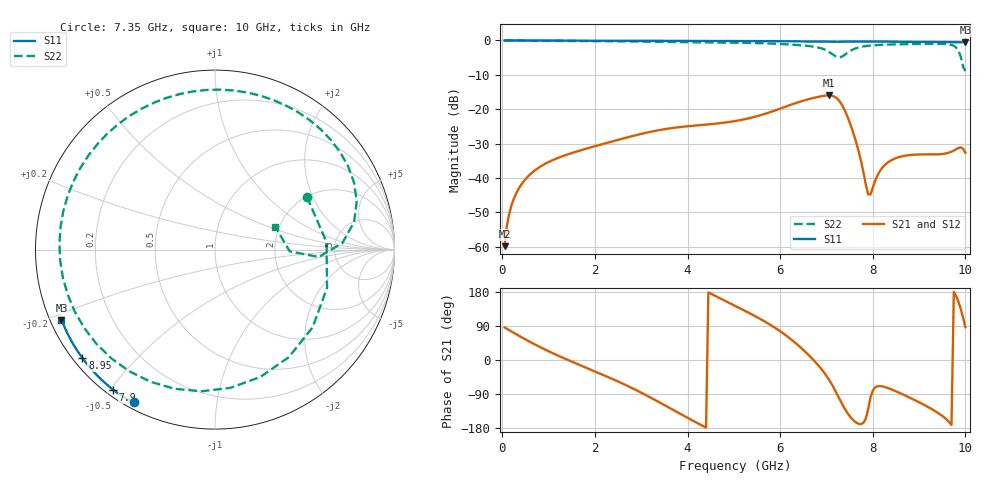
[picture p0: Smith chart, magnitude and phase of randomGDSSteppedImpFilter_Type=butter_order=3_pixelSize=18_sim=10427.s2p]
! freq	dB(S11)	phase(S11)	dB(S12)	phase(S12)
!  dB(S21)	phase(S21)	dB(S22)	phase(S22)
!S-par simulation data
#  GHz  S  DB  R 50
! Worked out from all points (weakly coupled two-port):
!   200 points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, 50 MHz to 10 GHz, reference 50 ohm
!   highest |S21| = -15.99 dB at 7.05 GHz (marker M1); lowest = -59.9 dB at 50 MHz (marker M2)
!   lowest |S11| = -0.5 dB at 10 GHz (marker M3), VSWR 33.01, Z = 1.59 - j10.9 ohm
!   |S11| at or under -10 dB: nowhere
!   |S22| runs from -8.9 to 0.0 dB; largest |S21 - S12| = 0
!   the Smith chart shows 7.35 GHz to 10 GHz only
!   S11 on the Smith chart (normalised r, x): 7.35 GHz: 0.03, -0.60; 7.9 GHz: 0.02, -0.51; 8.95 GHz: 0.03, -0.36; 10 GHz: 0.03, -0.22
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0.05  -0.00 -0.9  -59.89 85.8  -59.89 85.8  -0.00 -6.4
0.25  -0.01 -4.5  -46.04 71.6  -46.04 71.6  -0.04 -31.7
0.8  -0.02 -14.4  -36.91 35.0  -36.91 35.0  -0.11 -95.3
1.75  -0.04 -31.3  -31.75 -17.1  -31.75 -17.1  -0.18 175.9
2.65  -0.07 -46.8  -28.39 -65.2  -28.39 -65.2  -0.27 94.7
3.4  -0.09 -59.3  -26.07 -112.2  -26.07 -112.2  -0.41 14.6
4.25  -0.12 -73.0  -24.68 -168.9  -24.68 -168.9  -0.54 -81.1
5.05  -0.15 -85.4  -23.41 141.5  -23.41 141.5  -0.66 -163.7
5.5  -0.18 -92.2  -22.06 113.0  -22.06 113.0  -0.78 147.1
5.95  -0.22 -98.9  -20.09 80.1  -20.09 80.1  -0.99 86.7
6.4  -0.27 -105.5  -17.94 37.7  -17.94 37.7  -1.35 4.8
6.7  -0.31 -109.7  -16.80 2.5  -16.80 2.5  -1.76 -64.1
6.9  -0.35 -112.4  -16.22 -25.4  -16.22 -25.4  -2.34 -118.9
7.05  -0.37 -114.3  -15.99 -51.1  -15.99 -51.1  -3.26 -170.8
7.2  -0.38 -116.1  -16.58 -83.3  -16.58 -83.3  -4.63 117.4
7.35  -0.35 -118.0  -19.12 -118.8  -19.12 -118.8  -4.58 29.8
7.6  -0.30 -121.6  -27.82 -161.1  -27.82 -161.1  -2.46 -70.5
7.9  -0.31 -126.0  -44.80 -130.0  -44.80 -130.0  -1.54 -133.6
8.35  -0.35 -132.4  -35.28 -75.0  -35.28 -75.0  -1.19 165.8
8.95  -0.41 -140.7  -33.21 -108.5  -33.21 -108.5  -1.03 102.6
9.7  -0.50 -151.2  -32.37 -171.3  -32.37 -171.3  -1.31 25.7
10  -0.53 -155.4  -32.70 86.4  -32.70 86.4  -8.89 20.9
